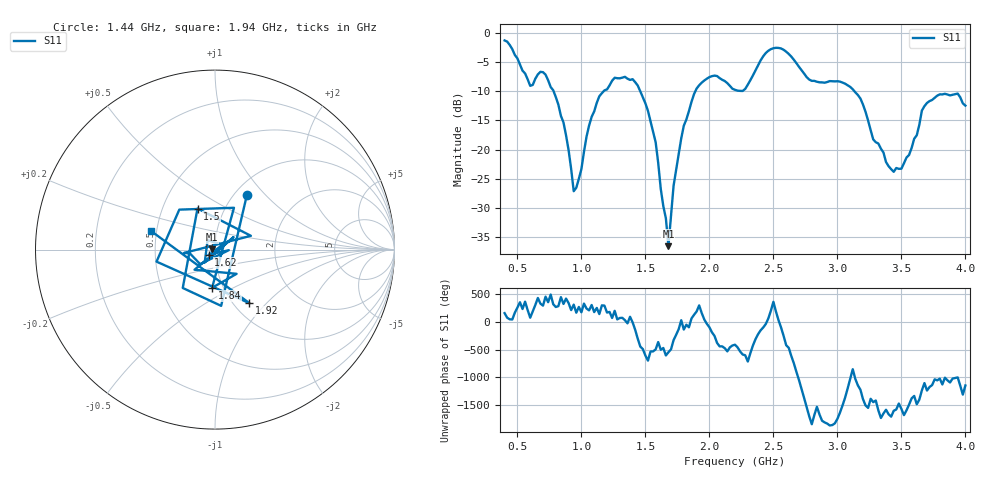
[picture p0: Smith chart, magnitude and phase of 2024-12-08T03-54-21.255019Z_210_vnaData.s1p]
!Created with skrf (http://scikit-rf.org).
# Hz S RI R 50.0
!freq ReS11 ImS11
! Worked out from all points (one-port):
!   181 points, 400 MHz to 4 GHz, reference 50 ohm
!   lowest |S11| = -36.5 dB at 1.68 GHz (marker M1), VSWR 1.03, Z = 48.5 + j0.16 ohm
!   |S11| at or under -10 dB: 782.4 MHz to 1.175 GHz (392.2 MHz wide, 40.1 % of centre); 1.459 GHz to 1.891 GHz (431.2 MHz wide, 25.7 % of centre); 3.132 GHz to end of sweep
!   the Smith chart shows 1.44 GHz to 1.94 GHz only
!   S11 on the Smith chart (normalised r, x): 1.44 GHz: 1.14, +0.79; 1.5 GHz: 0.75, +0.36; 1.62 GHz: 0.93, -0.05; 1.84 GHz: 0.89, -0.39; 1.92 GHz: 1.18, -0.81; 1.94 GHz: 0.46, +0.11
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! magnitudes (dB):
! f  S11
! 400 MHz  -1.3
! 600 MHz  -9.1
! 720 MHz  -7.2
! 860 MHz  -15.4
! 940 MHz  -27.1
! 1.14 GHz  -10.9
! 1.3 GHz  -7.8
! 1.44 GHz  -9.0
! 1.5 GHz  -12.1
! 1.58 GHz  -18.7
! 1.62 GHz  -26.7
! 1.68 GHz  -36.5
! 1.72 GHz  -26.2
! 1.76 GHz  -20.7
! 1.84 GHz  -13.4
! 1.92 GHz  -9.0
! 1.94 GHz  -8.5
! 2.2 GHz  -9.8
! 2.28 GHz  -9.6
! 2.48 GHz  -2.8
! 2.66 GHz  -4.6
! 2.8 GHz  -8.2
! 3.1 GHz  -9.3
! 3.42 GHz  -23.4
! 3.56 GHz  -20.9
! 3.7 GHz  -12.0
! 3.94 GHz  -10.4
! 4 GHz  -12.5
